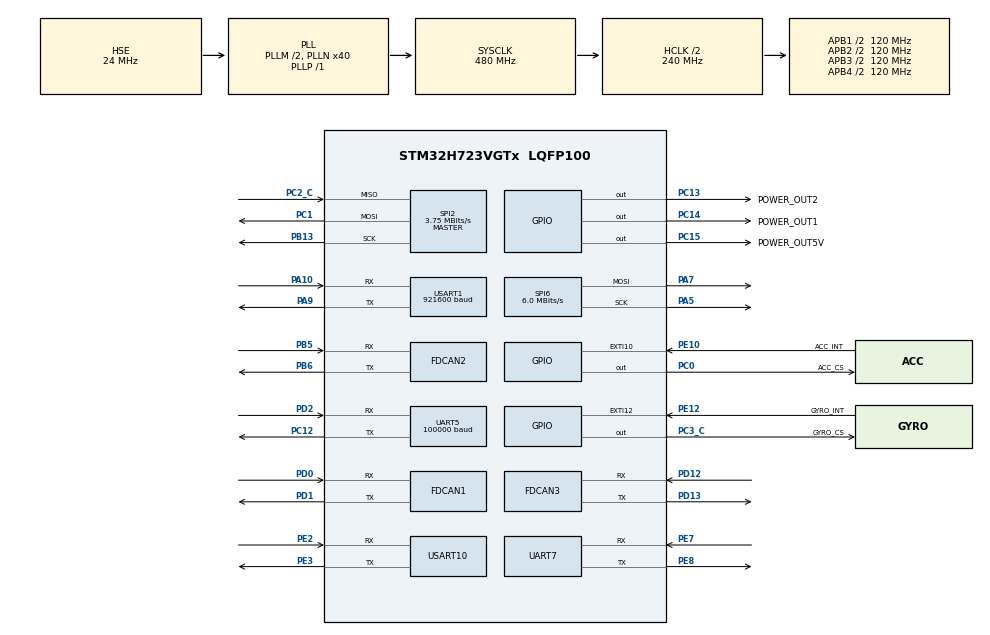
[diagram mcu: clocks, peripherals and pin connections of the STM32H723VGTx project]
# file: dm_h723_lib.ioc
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CORTEX_M7.CPU_ICache=Enabled
CORTEX_M7.default_mode_Activation=0
Dma.Request0=UART5_RX
Dma.Request1=SPI2_RX
Dma.Request2=SPI2_TX
Dma.Request3=UART7_RX
Dma.Request4=UART7_TX
Dma.SPI2_RX.1.Direction=DMA_PERIPH_TO_MEMORY
Dma.SPI2_RX.1.EventEnable=DISABLE
Dma.SPI2_RX.1.FIFOMode=DMA_FIFOMODE_DISABLE
Dma.SPI2_RX.1.Instance=DMA1_Stream0
Dma.SPI2_RX.1.MemDataAlignment=DMA_MDATAALIGN_BYTE
Dma.SPI2_RX.1.MemInc=DMA_MINC_ENABLE
Dma.SPI2_RX.1.Mode=DMA_NORMAL
Dma.SPI2_RX.1.PeriphDataAlignment=DMA_PDATAALIGN_BYTE
Dma.SPI2_RX.1.PeriphInc=DMA_PINC_DISABLE
Dma.SPI2_RX.1.Polarity=HAL_DMAMUX_REQ_GEN_RISING
Dma.SPI2_RX.1.Priority=DMA_PRIORITY_VERY_HIGH
Dma.SPI2_RX.1.RequestNumber=1
Dma.SPI2_RX.1.SignalID=NONE
Dma.SPI2_RX.1.SyncEnable=DISABLE
Dma.SPI2_RX.1.SyncPolarity=HAL_DMAMUX_SYNC_NO_EVENT
Dma.SPI2_RX.1.SyncRequestNumber=1
Dma.SPI2_RX.1.SyncSignalID=NONE
Dma.SPI2_TX.2.Direction=DMA_MEMORY_TO_PERIPH
Dma.SPI2_TX.2.EventEnable=DISABLE
Dma.SPI2_TX.2.FIFOMode=DMA_FIFOMODE_DISABLE
Dma.SPI2_TX.2.Instance=DMA1_Stream1
Dma.SPI2_TX.2.MemDataAlignment=DMA_MDATAALIGN_BYTE
Dma.SPI2_TX.2.MemInc=DMA_MINC_ENABLE
Dma.SPI2_TX.2.Mode=DMA_NORMAL
Dma.SPI2_TX.2.PeriphDataAlignment=DMA_PDATAALIGN_BYTE
Dma.SPI2_TX.2.PeriphInc=DMA_PINC_DISABLE
Dma.SPI2_TX.2.Polarity=HAL_DMAMUX_REQ_GEN_RISING
Dma.SPI2_TX.2.Priority=DMA_PRIORITY_HIGH
Dma.SPI2_TX.2.RequestNumber=1
Dma.SPI2_TX.2.SignalID=NONE
Dma.SPI2_TX.2.SyncEnable=DISABLE
Dma.SPI2_TX.2.SyncPolarity=HAL_DMAMUX_SYNC_NO_EVENT
Dma.SPI2_TX.2.SyncRequestNumber=1
Dma.SPI2_TX.2.SyncSignalID=NONE
Dma.UART5_RX.0.Direction=DMA_PERIPH_TO_MEMORY
Dma.UART5_RX.0.EventEnable=DISABLE
Dma.UART5_RX.0.FIFOMode=DMA_FIFOMODE_DISABLE
Dma.UART5_RX.0.Instance=DMA1_Stream2
Dma.UART5_RX.0.MemDataAlignment=DMA_MDATAALIGN_BYTE
Dma.UART5_RX.0.MemInc=DMA_MINC_ENABLE
Dma.UART5_RX.0.Mode=DMA_NORMAL
Dma.UART5_RX.0.PeriphDataAlignment=DMA_PDATAALIGN_BYTE
Dma.UART5_RX.0.PeriphInc=DMA_PINC_DISABLE
Dma.UART5_RX.0.Polarity=HAL_DMAMUX_REQ_GEN_RISING
Dma.UART5_RX.0.Priority=DMA_PRIORITY_VERY_HIGH
Dma.UART5_RX.0.RequestNumber=1
Dma.UART5_RX.0.SignalID=NONE
Dma.UART5_RX.0.SyncEnable=DISABLE
Dma.UART5_RX.0.SyncPolarity=HAL_DMAMUX_SYNC_NO_EVENT
Dma.UART5_RX.0.SyncRequestNumber=1
Dma.UART5_RX.0.SyncSignalID=NONE
Dma.UART7_RX.3.Direction=DMA_PERIPH_TO_MEMORY
Dma.UART7_RX.3.EventEnable=DISABLE
Dma.UART7_RX.3.FIFOMode=DMA_FIFOMODE_DISABLE
Dma.UART7_RX.3.Instance=DMA1_Stream3
Dma.UART7_RX.3.MemDataAlignment=DMA_MDATAALIGN_BYTE
Dma.UART7_RX.3.MemInc=DMA_MINC_ENABLE
Dma.UART7_RX.3.Mode=DMA_NORMAL
Dma.UART7_RX.3.PeriphDataAlignment=DMA_PDATAALIGN_BYTE
Dma.UART7_RX.3.PeriphInc=DMA_PINC_DISABLE
Dma.UART7_RX.3.Polarity=HAL_DMAMUX_REQ_GEN_RISING
Dma.UART7_RX.3.Priority=DMA_PRIORITY_HIGH
Dma.UART7_RX.3.RequestNumber=1
Dma.UART7_RX.3.SignalID=NONE
Dma.UART7_RX.3.SyncEnable=DISABLE
Dma.UART7_RX.3.SyncPolarity=HAL_DMAMUX_SYNC_NO_EVENT
Dma.UART7_RX.3.SyncRequestNumber=1
Dma.UART7_RX.3.SyncSignalID=NONE
Dma.UART7_TX.4.Direction=DMA_MEMORY_TO_PERIPH
Dma.UART7_TX.4.EventEnable=DISABLE
Dma.UART7_TX.4.FIFOMode=DMA_FIFOMODE_DISABLE
Dma.UART7_TX.4.Instance=DMA1_Stream4
Dma.UART7_TX.4.MemDataAlignment=DMA_MDATAALIGN_BYTE
Dma.UART7_TX.4.MemInc=DMA_MINC_ENABLE
Dma.UART7_TX.4.Mode=DMA_NORMAL
Dma.UART7_TX.4.PeriphDataAlignment=DMA_PDATAALIGN_BYTE
Dma.UART7_TX.4.PeriphInc=DMA_PINC_DISABLE
Dma.UART7_TX.4.Polarity=HAL_DMAMUX_REQ_GEN_RISING
Dma.UART7_TX.4.Priority=DMA_PRIORITY_HIGH
Dma.UART7_TX.4.RequestNumber=1
Dma.UART7_TX.4.SignalID=NONE
Dma.UART7_TX.4.SyncEnable=DISABLE
Dma.UART7_TX.4.SyncPolarity=HAL_DMAMUX_SYNC_NO_EVENT
Dma.UART7_TX.4.SyncRequestNumber=1
Dma.UART7_TX.4.SyncSignalID=NONE
FDCAN1.CalculateBaudRateNominal=1000000
FDCAN1.CalculateTimeBitNominal=1000
FDCAN1.CalculateTimeQuantumNominal=25.0
FDCAN1.DataPrescaler=3
FDCAN1.DataSyncJumpWidth=10
FDCAN1.DataTimeSeg1=29
FDCAN1.DataTimeSeg2=10
FDCAN1.NominalPrescaler=3
FDCAN1.NominalSyncJumpWidth=10
FDCAN1.NominalTimeSeg1=29
FDCAN1.NominalTimeSeg2=10
FDCAN1.RxFifo0ElmtsNbr=32
FDCAN1.StdFiltersNbr=1
FDCAN1.TxFifoQueueElmtsNbr=32
FDCAN2.CalculateBaudRateNominal=1000000
FDCAN2.CalculateTimeBitNominal=1000
FDCAN2.CalculateTimeQuantumNominal=25.0
FDCAN2.DataPrescaler=3
FDCAN2.DataSyncJumpWidth=10
FDCAN2.DataTimeSeg1=29
FDCAN2.DataTimeSeg2=10
FDCAN2.MessageRAMOffset=852
FDCAN2.NominalPrescaler=3
FDCAN2.NominalSyncJumpWidth=10
FDCAN2.NominalTimeSeg1=29
FDCAN2.NominalTimeSeg2=10
FDCAN2.RxFifo0ElmtsNbr=32
FDCAN2.StdFiltersNbr=1
FDCAN2.TxFifoQueueElmtsNbr=32
FDCAN3.CalculateBaudRateNominal=1000000
FDCAN3.CalculateTimeBitNominal=1000
FDCAN3.CalculateTimeQuantumNominal=25.0
FDCAN3.DataPrescaler=3
FDCAN3.DataSyncJumpWidth=10
FDCAN3.DataTimeSeg1=29
FDCAN3.DataTimeSeg2=10
FDCAN3.MessageRAMOffset=1704
FDCAN3.NominalPrescaler=3
FDCAN3.NominalSyncJumpWidth=10
FDCAN3.NominalTimeSeg1=29
FDCAN3.NominalTimeSeg2=10
FDCAN3.RxFifo0ElmtsNbr=32
FDCAN3.StdFiltersNbr=1
FDCAN3.TxFifoQueueElmtsNbr=32
FREERTOS.Tasks01=defaultTask,0,128,StartDefaultTask,Default,NULL,Dynamic,NULL,NULL;debug_uart,-3,1024,DEBUG_UART_TASK,As weak,NULL,Dynamic,NULL,NULL;led,-3,128,LED_TASK,As weak,NULL,Dynamic,NULL,NULL;get_rc,-3,256,GET_RC_TASK,As weak,NULL,Dynamic,NULL,NULL;imu_data,-3,1024,IMU_DATA_GET,As weak,NULL,Dynamic,NULL,NULL;can_sent,-3,512,CAN_SENT_TASK,As weak,NULL,Dynamic,NULL,NULL;shoot_task,-3,128,SHOOT_TASK,As weak,NULL,Dynamic,NULL,NULL;stop_check,-3,128,SHOOOT_STOP_CHECK,As weak,NULL,Dynamic,NULL,NULL;err_dec_task,-3,256,ERROR_DETECTION,As weak,NULL,Dynamic,NULL,NULL;chassis,-3,1024,CHASSIS_TASK,As weak,NULL,Dynamic,NULL,NULL;chassis_vx,-3,512,CHASSIS_VX_TASK,As weak,NULL,Dynamic,NULL,NULL;up_stairs,-3,256,UP_STAIRS_TASK,As weak,NULL,Dynamic,NULL,NULL;chassis_vround,-3,256,CHASSIS_VROUND_TASK,As weak,NULL,Dynamic,NULL,NULL
FREERTOS.configTOTAL_HEAP_SIZE=30000
FREERTOS.configUSE_NEWLIB_REENTRANT=1
Mcu.Family=STM32H7
Mcu.Name=STM32H723VGTx
Mcu.Package=LQFP100
NVIC.DMA1_Stream0_IRQn=true\:5\:0\:false\:false\:true\:true\:false\:true\:true
NVIC.DMA1_Stream1_IRQn=true\:5\:0\:false\:false\:true\:true\:false\:true\:true
NVIC.DMA1_Stream2_IRQn=true\:5\:0\:false\:false\:true\:true\:false\:true\:true
NVIC.DMA1_Stream3_IRQn=true\:5\:0\:false\:false\:true\:true\:false\:true\:true
NVIC.DMA1_Stream4_IRQn=true\:5\:0\:false\:false\:true\:true\:false\:true\:true
NVIC.FDCAN1_IT0_IRQn=true\:5\:0\:false\:false\:true\:true\:true\:true\:true
NVIC.FDCAN2_IT0_IRQn=true\:5\:0\:false\:false\:true\:true\:true\:true\:true
NVIC.FDCAN3_IT0_IRQn=true\:5\:0\:false\:false\:true\:true\:true\:true\:true
NVIC.PriorityGroup=NVIC_PRIORITYGROUP_4
NVIC.SPI2_IRQn=true\:5\:0\:false\:false\:true\:true\:true\:true\:true
NVIC.TIM7_IRQn=true\:15\:0\:false\:false\:true\:false\:false\:true\:true
NVIC.TimeBase=TIM7_IRQn
NVIC.TimeBaseIP=TIM7
NVIC.UART5_IRQn=true\:5\:0\:false\:false\:true\:true\:true\:true\:true
NVIC.UART7_IRQn=true\:5\:0\:false\:false\:true\:true\:true\:true\:true
NVIC.USART10_IRQn=true\:5\:0\:false\:false\:true\:true\:true\:true\:true
PA10.Mode=Asynchronous
PA10.Signal=USART1_RX
PA13(JTMS/SWDIO).Mode=Serial_Wire
PA13(JTMS/SWDIO).Signal=DEBUG_JTMS-SWDIO
PA14(JTCK/SWCLK).Mode=Serial_Wire
PA14(JTCK/SWCLK).Signal=DEBUG_JTCK-SWCLK
PA5.Mode=TX_Only_Simplex_Unidirect_Master
PA5.Signal=SPI6_SCK
PA7.Mode=TX_Only_Simplex_Unidirect_Master
PA7.Signal=SPI6_MOSI
PA9.Mode=Asynchronous
PA9.Signal=USART1_TX
PB13.Mode=Full_Duplex_Master
PB13.Signal=SPI2_SCK
PB5.Mode=FDCAN_Activate
PB5.Signal=FDCAN2_RX
PB6.Mode=FDCAN_Activate
PB6.Signal=FDCAN2_TX
PC0.GPIO_Label=ACC_CS
PC0.GPIO_Speed=GPIO_SPEED_FREQ_VERY_HIGH
PC0.PinState=GPIO_PIN_SET
PC0.Signal=GPIO_Output
PC1.Mode=Full_Duplex_Master
PC1.Signal=SPI2_MOSI
PC12.Mode=Asynchronous
PC12.Signal=UART5_TX
PC13.GPIO_Label=POWER_OUT2
PC13.PinState=GPIO_PIN_SET
PC13.Signal=GPIO_Output
PC14-OSC32_IN.GPIO_Label=POWER_OUT1
PC14-OSC32_IN.PinState=GPIO_PIN_SET
PC14-OSC32_IN.Signal=GPIO_Output
PC15-OSC32_OUT.GPIO_Label=POWER_OUT5V
PC15-OSC32_OUT.PinState=GPIO_PIN_SET
PC15-OSC32_OUT.Signal=GPIO_Output
PC2_C.Mode=Full_Duplex_Master
PC2_C.Signal=SPI2_MISO
PC3_C.GPIO_Label=GYRO_CS
PC3_C.GPIO_Speed=GPIO_SPEED_FREQ_VERY_HIGH
PC3_C.PinState=GPIO_PIN_SET
PC3_C.Signal=GPIO_Output
PD0.Mode=FDCAN_Activate
PD0.Signal=FDCAN1_RX
PD1.Mode=FDCAN_Activate
PD1.Signal=FDCAN1_TX
PD12.Mode=FDCAN_Activate
PD12.Signal=FDCAN3_RX
PD13.Mode=FDCAN_Activate
PD13.Signal=FDCAN3_TX
PD2.Mode=Asynchronous
PD2.Signal=UART5_RX
PE10.GPIO_Label=ACC_INT
PE10.Signal=GPXTI10
PE12.GPIO_Label=GYRO_INT
PE12.Signal=GPXTI12
PE2.Mode=Asynchronous
PE2.Signal=USART10_RX
PE3.Mode=Asynchronous
PE3.Signal=USART10_TX
PE7.Mode=Asynchronous
PE7.Signal=UART7_RX
PE8.Mode=Asynchronous
PE8.Signal=UART7_TX
PH0-OSC_IN.Mode=HSE-External-Oscillator
PH0-OSC_IN.Signal=RCC_OSC_IN
PH1-OSC_OUT.Mode=HSE-External-Oscillator
PH1-OSC_OUT.Signal=RCC_OSC_OUT
ProjectManager.HeapSize=0x200
ProjectManager.StackSize=0x400
ProjectManager.TargetToolchain=STM32CubeIDE
RCC.ADCFreq_Value=96000000
RCC.APB1Freq_Value=120000000
RCC.APB2Freq_Value=120000000
RCC.APB3Freq_Value=120000000
RCC.APB4Freq_Value=120000000
RCC.CortexFreq_Value=480000000
RCC.D1PPRE=RCC_APB3_DIV2
RCC.D2PPRE1=RCC_APB1_DIV2
RCC.D2PPRE2=RCC_APB2_DIV2
RCC.D3PPRE=RCC_APB4_DIV2
RCC.DIVM1=2
RCC.DIVM2=2
RCC.DIVN1=40
RCC.DIVN2=16
RCC.DIVP1=1
RCC.DIVQ1=4
RCC.HCLKFreq_Value=240000000
RCC.HPRE=RCC_HCLK_DIV2
RCC.HSE_VALUE=24000000
RCC.PLL2FRACN=0
RCC.PLL3FRACN=0
RCC.PLLFRACN=0
RCC.PLLSourceVirtual=RCC_PLLSOURCE_HSE
RCC.SPI6CLockSelection=RCC_SPI6CLKSOURCE_HSE
RCC.SYSCLKFreq_VALUE=480000000
RCC.SYSCLKSource=RCC_SYSCLKSOURCE_PLLCLK
RCC.USBFreq_Value=120000000
SPI2.BaudRatePrescaler=SPI_BAUDRATEPRESCALER_32
SPI2.CLKPhase=SPI_PHASE_2EDGE
SPI2.CLKPolarity=SPI_POLARITY_HIGH
SPI2.CalculateBaudRate=3.75 MBits/s
SPI2.DataSize=SPI_DATASIZE_8BIT
SPI2.Direction=SPI_DIRECTION_2LINES
SPI2.Mode=SPI_MODE_MASTER
SPI2.VirtualType=VM_MASTER
SPI6.BaudRatePrescaler=SPI_BAUDRATEPRESCALER_4
SPI6.CLKPhase=SPI_PHASE_2EDGE
SPI6.CalculateBaudRate=6.0 MBits/s
SPI6.DataSize=SPI_DATASIZE_8BIT
SPI6.Direction=SPI_DIRECTION_2LINES_TXONLY
SPI6.Mode=SPI_MODE_MASTER
SPI6.VirtualType=VM_MASTER
UART5.BaudRate=100000
UART5.Mode=MODE_TX_RX
UART5.Parity=PARITY_EVEN
UART5.StopBits=UART_STOPBITS_2
UART5.WordLength=WORDLENGTH_9B
USART1.BaudRate=921600
USART1.VirtualMode-Asynchronous=VM_ASYNC
USART10.VirtualMode=VM_ASYNC
VP_FREERTOS_VS_CMSIS_V1.Mode=CMSIS_V1
VP_MEMORYMAP_VS_MEMORYMAP.Mode=CurAppReg
VP_SYS_VS_tim7.Mode=TIM7
board=custom

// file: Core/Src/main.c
/* USER CODE BEGIN Header */
/**
  ******************************************************************************
  * @file           : main.c
  * @brief          : Main program body
  ******************************************************************************
  * @attention
  *
  * Copyright (c) 2026 STMicroelectronics.
  * All rights reserved.
  *
  * This software is licensed under terms that can be found in the LICENSE file
  * in the root directory of this software component.
  * If no LICENSE file comes with this software, it is provided AS-IS.
  *
  ******************************************************************************
  */
/* USER CODE END Header */
#include "main.h"
#include "cmsis_os.h"
#include "dma.h"
#include "fdcan.h"
#include "memorymap.h"
#include "spi.h"
#include "usart.h"
#include "gpio.h"

/* USER CODE BEGIN Includes */
#include "ws2812.h"
#include "uart_printf.h"
#include "remote_control.h"
#include "BMI088driver.h"
#include "bsp_can.h"
#include "dm_motor.h"
#include "SHOOT_TASK.h"
#include "CHASSIS_TASK.h"
#include "referee.h"
/* USER CODE END Includes */

/* USER CODE BEGIN PV */
float gyro[3], accel[3], temp;
float INS_quat[4] = {1.0f, 0.0f, 0.0f, 0.0f};
float INS_angle[3] = {0.0f, 0.0f, 0.0f};
float INS_degree[3] = {0.0f, 0.0f, 0.0f};

int16_t yaw_6020_state ;

//shoot
int16_t SHOOT_2006_ID3_GIVEN_SPEED ;
int16_t SHOOT_2006_ID3_GIVEN_CURRENT ;

int16_t chassis_left_3508_id2_given_current;
int16_t chassis_right_3508_id1_given_current;

float k[2][6];

float angular_speed ;
float angular_angle ;

float left_wheel_tor_compute;
float right_wheel_tor_compute;

float speed_expectation ;

float e0 ;
float e1 ;
float e2 ;
float e3 ;
float e4 ;
float e5 ;

float chassis_yaw_turn_corrent ;
float chassis_two_leg_turn_tor ;

int16_t YAW_6020_ID1_GIVEN_CURRENT ;

uint8_t SHOOT_2006_STATE = NORMAL_ON ;

float chassis_follow_gimbal_given_speed ;

float chassis_vx_given_speed ;

float chassis_given_move_x_m ;

uint8_t JUMP_STATE = NO_JUMP ;

uint8_t CHASSIS_ROUND_STATE_COMPUTE ;

/* USER CODE END PV */

void SystemClock_Config(void);
void MX_FREERTOS_Init(void);

int main(void)
{

  /* Enable the CPU Cache */

  /* Enable I-Cache---------------------------------------------------------*/
  SCB_EnableICache();

  /* MCU Configuration--------------------------------------------------------*/

  /* Reset of all peripherals, Initializes the Flash interface and the Systick. */
  HAL_Init();

  /* Configure the system clock */
  SystemClock_Config();

  /* Initialize all configured peripherals */
  MX_GPIO_Init();
  MX_DMA_Init();
  MX_SPI6_Init();
  MX_USART1_UART_Init();
  MX_UART5_Init();
  MX_SPI2_Init();
  MX_FDCAN1_Init();
  MX_FDCAN2_Init();
  MX_FDCAN3_Init();
  MX_UART7_Init();
  MX_USART10_UART_Init();
  /* USER CODE BEGIN 2 */

    while(BMI088_init());

    //about remote control
#if REMOTE_TYPE == SBUS
    HAL_UARTEx_ReceiveToIdle_DMA(&huart5, rx_subs_buff, SBUS_BUFF_SIZE * 2);
#endif

#if REMOTE_TYPE == DBUS
    HAL_UARTEx_ReceiveToIdle_DMA(&huart5, rx_dbus_buff, DBUS_BUFF_SIZE);
#endif

    Referee_Init(&huart7,0xA5);

    dm_motor_init();

    BSP_FDCAN_Init();

    //拨弹盘电机初始化

  /* USER CODE END 2 */

  /* Call init function for freertos objects (in cmsis_os2.c) */
  MX_FREERTOS_Init();

  /* Start scheduler */
  osKernelStart();

  /* We should never get here as control is now taken by the scheduler */

  /* Infinite loop */
  while (1)
  {

  }
}

void SystemClock_Config(void)
{
  RCC_OscInitTypeDef RCC_OscInitStruct = {0};
  RCC_ClkInitTypeDef RCC_ClkInitStruct = {0};

  /** Supply configuration update enable
  */
  HAL_PWREx_ConfigSupply(PWR_LDO_SUPPLY);

  /** Configure the main internal regulator output voltage
  */
  __HAL_PWR_VOLTAGESCALING_CONFIG(PWR_REGULATOR_VOLTAGE_SCALE0);

  while(!__HAL_PWR_GET_FLAG(PWR_FLAG_VOSRDY)) {}

  /** Initializes the RCC Oscillators according to the specified parameters
  * in the RCC_OscInitTypeDef structure.
  */
  RCC_OscInitStruct.OscillatorType = RCC_OSCILLATORTYPE_HSE;
  RCC_OscInitStruct.HSEState = RCC_HSE_ON;
  RCC_OscInitStruct.PLL.PLLState = RCC_PLL_ON;
  RCC_OscInitStruct.PLL.PLLSource = RCC_PLLSOURCE_HSE;
  RCC_OscInitStruct.PLL.PLLM = 2;
  RCC_OscInitStruct.PLL.PLLN = 40;
  RCC_OscInitStruct.PLL.PLLP = 1;
  RCC_OscInitStruct.PLL.PLLQ = 4;
  RCC_OscInitStruct.PLL.PLLR = 2;
  RCC_OscInitStruct.PLL.PLLRGE = RCC_PLL1VCIRANGE_3;
  RCC_OscInitStruct.PLL.PLLVCOSEL = RCC_PLL1VCOWIDE;
  RCC_OscInitStruct.PLL.PLLFRACN = 0;
  if (HAL_RCC_OscConfig(&RCC_OscInitStruct) != HAL_OK)
  {
    Error_Handler();
  }

  /** Initializes the CPU, AHB and APB buses clocks
  */
  RCC_ClkInitStruct.ClockType = RCC_CLOCKTYPE_HCLK|RCC_CLOCKTYPE_SYSCLK
                              |RCC_CLOCKTYPE_PCLK1|RCC_CLOCKTYPE_PCLK2
                              |RCC_CLOCKTYPE_D3PCLK1|RCC_CLOCKTYPE_D1PCLK1;
  RCC_ClkInitStruct.SYSCLKSource = RCC_SYSCLKSOURCE_PLLCLK;
  RCC_ClkInitStruct.SYSCLKDivider = RCC_SYSCLK_DIV1;
  RCC_ClkInitStruct.AHBCLKDivider = RCC_HCLK_DIV2;
  RCC_ClkInitStruct.APB3CLKDivider = RCC_APB3_DIV2;
  RCC_ClkInitStruct.APB1CLKDivider = RCC_APB1_DIV2;
  RCC_ClkInitStruct.APB2CLKDivider = RCC_APB2_DIV2;
  RCC_ClkInitStruct.APB4CLKDivider = RCC_APB4_DIV2;

  if (HAL_RCC_ClockConfig(&RCC_ClkInitStruct, FLASH_LATENCY_3) != HAL_OK)
  {
    Error_Handler();
  }
}

void HAL_TIM_PeriodElapsedCallback(TIM_HandleTypeDef *htim)
{
  if (htim->Instance == TIM7) {
    HAL_IncTick();
  }
}

void Error_Handler(void)
{
  __disable_irq();
  while (1)
  {
  }
}

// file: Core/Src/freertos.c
/* USER CODE BEGIN Header */
/**
  ******************************************************************************
  * File Name          : freertos.c
  * Description        : Code for freertos applications
  ******************************************************************************
  * @attention
  *
  * Copyright (c) 2026 STMicroelectronics.
  * All rights reserved.
  *
  * This software is licensed under terms that can be found in the LICENSE file
  * in the root directory of this software component.
  * If no LICENSE file comes with this software, it is provided AS-IS.
  *
  ******************************************************************************
  */
/* USER CODE END Header */

#include "FreeRTOS.h"
#include "task.h"
#include "main.h"
#include "cmsis_os.h"

osThreadId defaultTaskHandle;
osThreadId debug_uartHandle;
osThreadId ledHandle;
osThreadId get_rcHandle;
osThreadId imu_dataHandle;
osThreadId can_sentHandle;
osThreadId shoot_taskHandle;
osThreadId stop_checkHandle;
osThreadId err_dec_taskHandle;
osThreadId chassisHandle;
osThreadId chassis_vxHandle;
osThreadId up_stairsHandle;
osThreadId chassis_vroundHandle;

void StartDefaultTask(void const * argument);
void DEBUG_UART_TASK(void const * argument);
void LED_TASK(void const * argument);
void GET_RC_TASK(void const * argument);
void IMU_DATA_GET(void const * argument);
void CAN_SENT_TASK(void const * argument);
void SHOOT_TASK(void const * argument);
void SHOOOT_STOP_CHECK(void const * argument);
void ERROR_DETECTION(void const * argument);
void CHASSIS_TASK(void const * argument);
void CHASSIS_VX_TASK(void const * argument);
void UP_STAIRS_TASK(void const * argument);
void CHASSIS_VROUND_TASK(void const * argument);

void MX_FREERTOS_Init(void); /* (MISRA C 2004 rule 8.1) */

/* GetIdleTaskMemory prototype (linked to static allocation support) */
void vApplicationGetIdleTaskMemory( StaticTask_t **ppxIdleTaskTCBBuffer, StackType_t **ppxIdleTaskStackBuffer, uint32_t *pulIdleTaskStackSize );

/* USER CODE BEGIN GET_IDLE_TASK_MEMORY */
static StaticTask_t xIdleTaskTCBBuffer;
static StackType_t xIdleStack[configMINIMAL_STACK_SIZE];

void vApplicationGetIdleTaskMemory( StaticTask_t **ppxIdleTaskTCBBuffer, StackType_t **ppxIdleTaskStackBuffer, uint32_t *pulIdleTaskStackSize )
{
  *ppxIdleTaskTCBBuffer = &xIdleTaskTCBBuffer;
  *ppxIdleTaskStackBuffer = &xIdleStack[0];
  *pulIdleTaskStackSize = configMINIMAL_STACK_SIZE;
  /* place for user code */
}
/* USER CODE END GET_IDLE_TASK_MEMORY */

void MX_FREERTOS_Init(void) {

  /* Create the thread(s) */
  /* definition and creation of defaultTask */
  osThreadDef(defaultTask, StartDefaultTask, osPriorityNormal, 0, 128);
  defaultTaskHandle = osThreadCreate(osThread(defaultTask), NULL);

  /* definition and creation of debug_uart */
  osThreadDef(debug_uart, DEBUG_UART_TASK, osPriorityIdle, 0, 1024);
  debug_uartHandle = osThreadCreate(osThread(debug_uart), NULL);

  /* definition and creation of led */
  osThreadDef(led, LED_TASK, osPriorityIdle, 0, 128);
  ledHandle = osThreadCreate(osThread(led), NULL);

  /* definition and creation of get_rc */
  osThreadDef(get_rc, GET_RC_TASK, osPriorityIdle, 0, 256);
  get_rcHandle = osThreadCreate(osThread(get_rc), NULL);

  /* definition and creation of imu_data */
  osThreadDef(imu_data, IMU_DATA_GET, osPriorityIdle, 0, 1024);
  imu_dataHandle = osThreadCreate(osThread(imu_data), NULL);

  /* definition and creation of can_sent */
  osThreadDef(can_sent, CAN_SENT_TASK, osPriorityIdle, 0, 512);
  can_sentHandle = osThreadCreate(osThread(can_sent), NULL);

  /* definition and creation of shoot_task */
  osThreadDef(shoot_task, SHOOT_TASK, osPriorityIdle, 0, 128);
  shoot_taskHandle = osThreadCreate(osThread(shoot_task), NULL);

  /* definition and creation of stop_check */
  osThreadDef(stop_check, SHOOOT_STOP_CHECK, osPriorityIdle, 0, 128);
  stop_checkHandle = osThreadCreate(osThread(stop_check), NULL);

  /* definition and creation of err_dec_task */
  osThreadDef(err_dec_task, ERROR_DETECTION, osPriorityIdle, 0, 256);
  err_dec_taskHandle = osThreadCreate(osThread(err_dec_task), NULL);

  /* definition and creation of chassis */
  osThreadDef(chassis, CHASSIS_TASK, osPriorityIdle, 0, 1024);
  chassisHandle = osThreadCreate(osThread(chassis), NULL);

  /* definition and creation of chassis_vx */
  osThreadDef(chassis_vx, CHASSIS_VX_TASK, osPriorityIdle, 0, 512);
  chassis_vxHandle = osThreadCreate(osThread(chassis_vx), NULL);

  /* definition and creation of up_stairs */
  osThreadDef(up_stairs, UP_STAIRS_TASK, osPriorityIdle, 0, 256);
  up_stairsHandle = osThreadCreate(osThread(up_stairs), NULL);

  /* definition and creation of chassis_vround */
  osThreadDef(chassis_vround, CHASSIS_VROUND_TASK, osPriorityIdle, 0, 256);
  chassis_vroundHandle = osThreadCreate(osThread(chassis_vround), NULL);

}

void StartDefaultTask(void const * argument)
{
  for(;;)
  {
    osDelay(1);
  }
}

__weak void DEBUG_UART_TASK(void const * argument)
{
  for(;;)
  {
    osDelay(1);
  }
}

__weak void LED_TASK(void const * argument)
{
  for(;;)
  {
    osDelay(1);
  }
}

__weak void GET_RC_TASK(void const * argument)
{
  for(;;)
  {
    osDelay(1);
  }
}

__weak void IMU_DATA_GET(void const * argument)
{
  for(;;)
  {
    osDelay(1);
  }
}

__weak void CAN_SENT_TASK(void const * argument)
{
  for(;;)
  {
    osDelay(1);
  }
}

__weak void SHOOT_TASK(void const * argument)
{
  for(;;)
  {
    osDelay(1);
  }
}

__weak void SHOOOT_STOP_CHECK(void const * argument)
{
  for(;;)
  {
    osDelay(1);
  }
}

__weak void ERROR_DETECTION(void const * argument)
{
  for(;;)
  {
    osDelay(1);
  }
}

__weak void CHASSIS_TASK(void const * argument)
{
  for(;;)
  {
    osDelay(1);
  }
}

__weak void CHASSIS_VX_TASK(void const * argument)
{
  for(;;)
  {
    osDelay(1);
  }
}

__weak void UP_STAIRS_TASK(void const * argument)
{
  for(;;)
  {
    osDelay(1);
  }
}

__weak void CHASSIS_VROUND_TASK(void const * argument)
{
  for(;;)
  {
    osDelay(1);
  }
}
